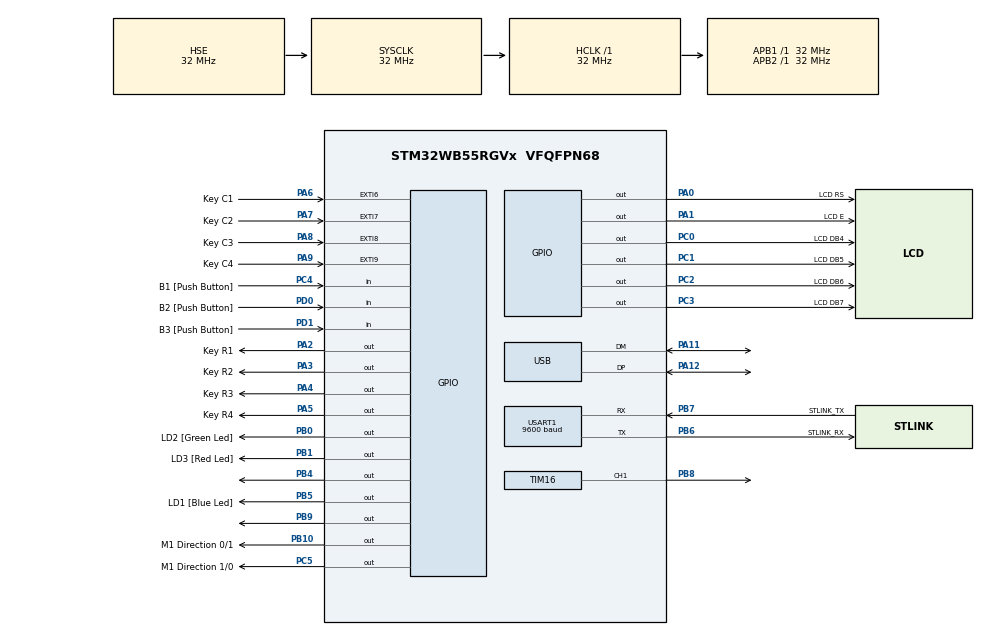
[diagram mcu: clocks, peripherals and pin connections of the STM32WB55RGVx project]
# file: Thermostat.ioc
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Mcu.Family=STM32WB
Mcu.Name=STM32WB55RGVx
Mcu.Package=VFQFPN68
NVIC.EXTI9_5_IRQn=true\:0\:0\:false\:false\:true\:true\:true\:true
NVIC.PriorityGroup=NVIC_PRIORITYGROUP_4
OSC_IN.Mode=HSE-External-Oscillator
OSC_IN.Signal=RCC_OSC_IN
OSC_OUT.Mode=HSE-External-Oscillator
OSC_OUT.Signal=RCC_OSC_OUT
PA0.GPIO_Label=LCD RS
PA0.Signal=GPIO_Output
PA1.GPIO_Label=LCD E
PA1.Signal=GPIO_Output
PA11.Mode=Device
PA11.Signal=USB_DM
PA12.Mode=Device
PA12.Signal=USB_DP
PA13.GPIO_Label=JTMS
PA13.Mode=Trace_Asynchronous_SW
PA13.Signal=SYS_JTMS-SWDIO
PA14.GPIO_Label=JTCK
PA14.Mode=Trace_Asynchronous_SW
PA14.Signal=SYS_JTCK-SWCLK
PA2.GPIO_Label=Key R1
PA2.PinState=GPIO_PIN_SET
PA2.Signal=GPIO_Output
PA3.GPIO_Label=Key R2
PA3.PinState=GPIO_PIN_SET
PA3.Signal=GPIO_Output
PA4.GPIO_Label=Key R3
PA4.PinState=GPIO_PIN_SET
PA4.Signal=GPIO_Output
PA5.GPIO_Label=Key R4
PA5.PinState=GPIO_PIN_SET
PA5.Signal=GPIO_Output
PA6.GPIO_Label=Key C1
PA6.GPIO_PuPd=GPIO_PULLDOWN
PA6.Signal=GPXTI6
PA7.GPIO_Label=Key C2
PA7.GPIO_PuPd=GPIO_PULLDOWN
PA7.Signal=GPXTI7
PA8.GPIO_Label=Key C3
PA8.GPIO_PuPd=GPIO_PULLDOWN
PA8.Signal=GPXTI8
PA9.GPIO_Label=Key C4
PA9.GPIO_PuPd=GPIO_PULLDOWN
PA9.Signal=GPXTI9
PB0.GPIO_Label=LD2 [Green Led]
PB0.Signal=GPIO_Output
PB1.GPIO_Label=LD3 [Red Led]
PB1.Signal=GPIO_Output
PB10.GPIO_Label=M1 Direction 0/1
PB10.Signal=GPIO_Output
PB3.GPIO_Label=JTDO
PB3.Mode=Trace_Asynchronous_SW
PB3.Signal=SYS_JTDO-SWO
PB4.Signal=GPIO_Output
PB5.GPIO_Label=LD1 [Blue Led]
PB5.Signal=GPIO_Output
PB6.GPIO_Label=STLINK_RX
PB6.GPIO_PuPd=GPIO_PULLUP
PB6.Mode=Asynchronous
PB6.Signal=USART1_TX
PB7.GPIO_Label=STLINK_TX
PB7.GPIO_PuPd=GPIO_PULLUP
PB7.Mode=Asynchronous
PB7.Signal=USART1_RX
PB8.Signal=S_TIM16_CH1
PB9.Signal=GPIO_Output
PC0.GPIO_Label=LCD DB4
PC0.Signal=GPIO_Output
PC1.GPIO_Label=LCD DB5
PC1.Signal=GPIO_Output
PC13.Mode=SYS_WakeUp1
PC13.Signal=SYS_WKUP2
PC14-OSC32_IN.Mode=LSE-External-Oscillator
PC14-OSC32_IN.Signal=RCC_OSC32_IN
PC15-OSC32_OUT.Mode=LSE-External-Oscillator
PC15-OSC32_OUT.Signal=RCC_OSC32_OUT
PC2.GPIO_Label=LCD DB6
PC2.Signal=GPIO_Output
PC3.GPIO_Label=LCD DB7
PC3.Signal=GPIO_Output
PC4.GPIO_Label=B1 [Push Button]
PC4.Signal=GPIO_Input
PC5.GPIO_Label=M1 Direction 1/0
PC5.Signal=GPIO_Output
PD0.GPIO_Label=B2 [Push Button]
PD0.Signal=GPIO_Input
PD1.GPIO_Label=B3 [Push Button]
PD1.Signal=GPIO_Input
ProjectManager.HeapSize=0x200
ProjectManager.StackSize=0x400
ProjectManager.TargetToolchain=Makefile
RCC.ADCFreq_Value=48000000
RCC.AHBFreq_Value=32000000
RCC.APB1Freq_Value=32000000
RCC.APB1TimFreq_Value=32000000
RCC.APB2Freq_Value=32000000
RCC.APB2TimFreq_Value=32000000
RCC.APB3Freq_Value=16000000
RCC.CortexFreq_Value=32000000
RCC.HCLKFreq_Value=32000000
RCC.HSE_VALUE=32000000
RCC.HSI48_VALUE=48000000
RCC.HSI_VALUE=16000000
RCC.LSE_Drive_Capability=RCC_LSEDRIVE_LOW
RCC.PLLN=32
RCC.PLLSAI1N=24
RCC.SMPSCLockSelectionVirtual=RCC_SMPSCLKSOURCE_HSI
RCC.SMPSCLockSelectionVirtualVirtual=RCC_SMPSCLKSOURCE_HSI
RCC.SMPSDivider=1
RCC.SYSCLKFreq_VALUE=32000000
RCC.SYSCLKSource=RCC_SYSCLKSOURCE_HSE
RCC.USBFreq_Value=48000000
RCC.VCOOutputFreq_Value=128000000
SH.S_TIM16_CH1.0=TIM16_CH1,PWM Generation1 CH1
TIM16.Channel=TIM_CHANNEL_1
TIM16.Period=255
TIM16.Prescaler=31
TIM16.Pulse=0
TIM2.Period=100000
TIM2.Prescaler=31
USART1.BaudRate=9600
USART1.VirtualMode-Asynchronous=VM_ASYNC
USART1.WordLength=WORDLENGTH_8B
VP_MEMORYMAP_VS_MEMORYMAP.Mode=CurAppReg
VP_TIM16_VS_ClockSourceINT.Mode=Enable_Timer
VP_TIM2_VS_ClockSourceINT.Mode=Internal
board=P-NUCLEO-WB55-NUCLEO

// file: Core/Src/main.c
/* USER CODE BEGIN Header */
/**
  ******************************************************************************
  * @file           : main.c
  * @brief          : Main program body
  ******************************************************************************
  * @attention
  *
  * Copyright (c) 2023 STMicroelectronics.
  * All rights reserved.
  *
  * This software is licensed under terms that can be found in the LICENSE file
  * in the root directory of this software component.
  * If no LICENSE file comes with this software, it is provided AS-IS.
  *
  ******************************************************************************
  */
/* USER CODE END Header */
#include "main.h"
#include "memorymap.h"
#include "tim.h"
#include "usart.h"
#include "usb.h"
#include "gpio.h"

/* USER CODE BEGIN Includes */
#include "lcd1602.h"
#include <stdio.h>
#include <string.h>

/* USER CODE END Includes */

/* USER CODE BEGIN PV */
uint32_t pMillis, cMillis;

/* USER CODE END PV */

void SystemClock_Config(void);
void PeriphCommonClock_Config(void);

/* USER CODE BEGIN 0 */
GPIO_InitTypeDef myGPIO_InitStruct = {0};
uint8_t humInt, humDec, tempCInt, tempCDec;
float tempF = 0;
uint32_t previousTimeInms = 0;
uint32_t currentTimeInms = 0;
uint32_t previousReadTime = 0;
uint8_t keyPressed = 0;
uint8_t setTemp = 70;
uint8_t settingTemp = 0;
uint8_t fanSpinning = 1;

// Wait for low signal
// Time out at 255 ticks
uint8_t WaitForLow()
{
  uint32_t start = HAL_GetTick();
  while((HAL_GPIO_ReadPin (GPIOB, GPIO_PIN_4)))
  {
    if (HAL_GetTick() - start >= UINT8_MAX){
      return 0;
    }
  }
  return 1;
}

// Wait for high signal
// Time out at 255 ticks
uint8_t WaitForHigh()
{
  uint32_t start = HAL_GetTick();
  while(!(HAL_GPIO_ReadPin (GPIOB, GPIO_PIN_4)))
  {
    if (HAL_GetTick() - start >= UINT8_MAX){
      return 0;
    }
  }
  return 1;
}

// Send start signal to dht11
// - set pin low for 20ms
// - set pin high for 40us
// - wait for dht11 to pull pin low
// - wait for dht11 to pull pin high
uint8_t DHT11_SendStartSignal(void)
{
  uint8_t response = 0;
  GPIO_InitTypeDef GPIO_InitStructPrivate = {0};
  GPIO_InitStructPrivate.Pin = GPIO_PIN_4;
  GPIO_InitStructPrivate.Mode = GPIO_MODE_OUTPUT_PP;
  GPIO_InitStructPrivate.Speed = GPIO_SPEED_FREQ_LOW;
  GPIO_InitStructPrivate.Pull = GPIO_NOPULL;
  HAL_GPIO_Init(GPIOB, &GPIO_InitStructPrivate); // set the pin as output

  HAL_GPIO_WritePin(GPIOB, GPIO_PIN_4, 0);   // pull the pin low
  HAL_Delay(20);   // wait for 20ms
  HAL_GPIO_WritePin(GPIOB, GPIO_PIN_4, 1);   // pull the pin high
  Delay_us (40);   // wait for 40us

  GPIO_InitStructPrivate.Mode = GPIO_MODE_INPUT;
  GPIO_InitStructPrivate.Pull = GPIO_PULLUP;
  HAL_GPIO_Init(GPIOB, &GPIO_InitStructPrivate); // set the pin as input
  response = WaitForLow();
  response = WaitForHigh();

  return response;
}

// Get one byte from DHT11
uint8_t DHT11_ReadByte()
{
  uint8_t a, b = 0;
  for (a = 0; a < 8; a++)
  {
    WaitForHigh();
    Delay_us(40);   // wait for 40 us (threshold is ~28 us)
    if (!(HAL_GPIO_ReadPin (GPIOB, GPIO_PIN_4))) // Bit is 0 if pin is low
      b&= ~(1 << (7-a));
    else // Bit is 1 if pin is still high
      b|= (1 << (7-a));
    WaitForLow();
  }
  return b;
}
/* USER CODE END 0 */

int main(void)
{

  /* MCU Configuration--------------------------------------------------------*/

  /* Reset of all peripherals, Initializes the Flash interface and the Systick. */
  HAL_Init();

  /* USER CODE BEGIN Init */
  char msg[32];

  /* USER CODE END Init */

  /* Configure the system clock */
  SystemClock_Config();

/* Configure the peripherals common clocks */
  PeriphCommonClock_Config();

  /* Initialize all configured peripherals */
  MX_GPIO_Init();
  MX_MEMORYMAP_Init();
  MX_TIM16_Init();
  MX_USART1_UART_Init();
  MX_USB_PCD_Init();
  MX_TIM2_Init();
  /* USER CODE BEGIN 2 */
  // Init LCD
  HAL_TIM_Base_Start(&htim2);
  HAL_TIM_PWM_Start(&htim16, TIM_CHANNEL_1);
  LCD_Init();
  LCD_Cls();
  HAL_GPIO_WritePin(GPIOB, GPIO_PIN_9, 0);
  HAL_GPIO_WritePin(GPIOC, GPIO_PIN_5, GPIO_PIN_SET);
  TIM16->CCR1 = 255; // Spin up fan

  /* USER CODE END 2 */

  /* Infinite loop */
  /* USER CODE BEGIN WHILE */
  while (1)
  {
    currentTimeInms = HAL_GetTick();
    // Only attempt to read 2 seconds after last successful read
    if ((currentTimeInms - previousReadTime > 2500) && DHT11_SendStartSignal())
    {
      char buffer[16] = { 0 };
      LCD_GotoXY(0, 0);

      humInt = DHT11_ReadByte(); // Relative humidity integral
      humDec = DHT11_ReadByte(); // Relative humidity decimal
      tempCInt = DHT11_ReadByte(); // Celsius integral
      tempCDec = DHT11_ReadByte(); // Celsius decimal
      tempF = ((float)tempCInt + (float)(tempCDec/10.0)) * 9/5 + 32;

      // Set fan speed based on set temp and current temp
      if (!settingTemp)
      {
        if (round(tempF) > setTemp)
        {
          if (!fanSpinning)
          {
            // Spin up fan
            TIM16->CCR1 = 255;
            HAL_Delay(100);
          }
          // Set speed (max speed at diff of 5F)
          TIM16->CCR1 = (round(tempF) - setTemp) / (float)5.0 * 51 + 195;
        }
        else
        {
          fanSpinning = 0;
          TIM16->CCR1 = 0;
        }
      }

      // Print first line
      sprintf(buffer,"%d.%d %%  %d F  ", humInt, humDec, (int)round(tempF));
      LCD_Print(buffer);

      // Print second line
      LCD_GotoXY(0, 1);
      if (setTemp == 0)
      {
        sprintf(buffer, "Set Temp:  F   ");
      }
      else
      {
        sprintf(buffer, "Set Temp: %d F ", setTemp);
      }
      LCD_Print(buffer);

      previousReadTime = HAL_GetTick();
    }

    if (settingTemp)
    {
      char buffer[16] = { 0 };
      sprintf(buffer, "Set Temp: %d F ", setTemp);
    }
    /* USER CODE END WHILE */

  }
}

void SystemClock_Config(void)
{
  RCC_OscInitTypeDef RCC_OscInitStruct = {0};
  RCC_ClkInitTypeDef RCC_ClkInitStruct = {0};

  /** Macro to configure the PLL multiplication factor
  */
  __HAL_RCC_PLL_PLLM_CONFIG(RCC_PLLM_DIV1);

  /** Macro to configure the PLL clock source
  */
  __HAL_RCC_PLL_PLLSOURCE_CONFIG(RCC_PLLSOURCE_MSI);

  /** Configure LSE Drive Capability
  */
  HAL_PWR_EnableBkUpAccess();
  __HAL_RCC_LSEDRIVE_CONFIG(RCC_LSEDRIVE_LOW);

  /** Configure the main internal regulator output voltage
  */
  __HAL_PWR_VOLTAGESCALING_CONFIG(PWR_REGULATOR_VOLTAGE_SCALE1);

  /** Initializes the RCC Oscillators according to the specified parameters
  * in the RCC_OscInitTypeDef structure.
  */
  RCC_OscInitStruct.OscillatorType = RCC_OSCILLATORTYPE_HSI|RCC_OSCILLATORTYPE_HSE
                              |RCC_OSCILLATORTYPE_LSE|RCC_OSCILLATORTYPE_MSI;
  RCC_OscInitStruct.HSEState = RCC_HSE_ON;
  RCC_OscInitStruct.LSEState = RCC_LSE_ON;
  RCC_OscInitStruct.HSIState = RCC_HSI_ON;
  RCC_OscInitStruct.MSIState = RCC_MSI_ON;
  RCC_OscInitStruct.HSICalibrationValue = RCC_HSICALIBRATION_DEFAULT;
  RCC_OscInitStruct.MSICalibrationValue = RCC_MSICALIBRATION_DEFAULT;
  RCC_OscInitStruct.MSIClockRange = RCC_MSIRANGE_6;
  RCC_OscInitStruct.PLL.PLLState = RCC_PLL_NONE;
  if (HAL_RCC_OscConfig(&RCC_OscInitStruct) != HAL_OK)
  {
    Error_Handler();
  }

  /** Configure the SYSCLKSource, HCLK, PCLK1 and PCLK2 clocks dividers
  */
  RCC_ClkInitStruct.ClockType = RCC_CLOCKTYPE_HCLK4|RCC_CLOCKTYPE_HCLK2
                              |RCC_CLOCKTYPE_HCLK|RCC_CLOCKTYPE_SYSCLK
                              |RCC_CLOCKTYPE_PCLK1|RCC_CLOCKTYPE_PCLK2;
  RCC_ClkInitStruct.SYSCLKSource = RCC_SYSCLKSOURCE_HSE;
  RCC_ClkInitStruct.AHBCLKDivider = RCC_SYSCLK_DIV1;
  RCC_ClkInitStruct.APB1CLKDivider = RCC_HCLK_DIV1;
  RCC_ClkInitStruct.APB2CLKDivider = RCC_HCLK_DIV1;
  RCC_ClkInitStruct.AHBCLK2Divider = RCC_SYSCLK_DIV1;
  RCC_ClkInitStruct.AHBCLK4Divider = RCC_SYSCLK_DIV1;

  if (HAL_RCC_ClockConfig(&RCC_ClkInitStruct, FLASH_LATENCY_1) != HAL_OK)
  {
    Error_Handler();
  }

  /** Enable MSI Auto calibration
  */
  HAL_RCCEx_EnableMSIPLLMode();
}

void PeriphCommonClock_Config(void)
{
  RCC_PeriphCLKInitTypeDef PeriphClkInitStruct = {0};

  /** Initializes the peripherals clock
  */
  PeriphClkInitStruct.PeriphClockSelection = RCC_PERIPHCLK_SMPS;
  PeriphClkInitStruct.SmpsClockSelection = RCC_SMPSCLKSOURCE_HSI;
  PeriphClkInitStruct.SmpsDivSelection = RCC_SMPSCLKDIV_RANGE0;

  if (HAL_RCCEx_PeriphCLKConfig(&PeriphClkInitStruct) != HAL_OK)
  {
    Error_Handler();
  }
}

/* USER CODE BEGIN 4 */
void NumButtonPress(uint8_t num)
{
  if (settingTemp)
  {
    if (setTemp == 0)
    {
      setTemp = num;
    }
    else
    {
      setTemp = setTemp * 10 + num;
      settingTemp = 0;
    }
  }
}

void HAL_GPIO_EXTI_Callback(uint16_t GPIO_Pin)
{
  currentTimeInms = HAL_GetTick();
  if (currentTimeInms - previousTimeInms > 500) {
    myGPIO_InitStruct.Pin = Key_C1_Pin|Key_C2_Pin|Key_C3_Pin|Key_C4_Pin;
    myGPIO_InitStruct.Mode = GPIO_MODE_INPUT;
    myGPIO_InitStruct.Pull = GPIO_PULLDOWN;
    myGPIO_InitStruct.Speed = GPIO_SPEED_FREQ_LOW;
    HAL_GPIO_Init(GPIOA, &myGPIO_InitStruct);

    HAL_GPIO_WritePin(Key_R1_GPIO_Port, Key_R1_Pin, 1);
    HAL_GPIO_WritePin(Key_R2_GPIO_Port, Key_R2_Pin, 0);
    HAL_GPIO_WritePin(Key_R3_GPIO_Port, Key_R3_Pin, 0);
    HAL_GPIO_WritePin(Key_R4_GPIO_Port, Key_R4_Pin, 0);

    if(GPIO_Pin == Key_C1_Pin && HAL_GPIO_ReadPin(Key_C1_GPIO_Port, Key_C1_Pin))
    {
      NumButtonPress(1);
      keyPressed = 49; //ASCII value of 1
    }
    else if(GPIO_Pin == Key_C2_Pin && HAL_GPIO_ReadPin(Key_C2_GPIO_Port, Key_C2_Pin))
    {
      NumButtonPress(2);
      keyPressed = 50; //ASCII value of 2
    }
    else if(GPIO_Pin == Key_C3_Pin && HAL_GPIO_ReadPin(Key_C3_GPIO_Port, Key_C3_Pin))
    {
      NumButtonPress(3);
      keyPressed = 51; //ASCII value of 3
    }
    else if(GPIO_Pin == Key_C4_Pin && HAL_GPIO_ReadPin(Key_C4_GPIO_Port, Key_C4_Pin))
    {
      keyPressed = 65; //ASCII value of A
    }

    HAL_GPIO_WritePin(Key_R1_GPIO_Port, Key_R1_Pin, 0);
    HAL_GPIO_WritePin(Key_R2_GPIO_Port, Key_R2_Pin, 1);
    HAL_GPIO_WritePin(Key_R3_GPIO_Port, Key_R3_Pin, 0);
    HAL_GPIO_WritePin(Key_R4_GPIO_Port, Key_R4_Pin, 0);

    if(GPIO_Pin == Key_C1_Pin && HAL_GPIO_ReadPin(Key_C1_GPIO_Port, Key_C1_Pin))
    {
      NumButtonPress(4);
      keyPressed = 52; //ASCII value of 4
    }
    else if(GPIO_Pin == Key_C2_Pin && HAL_GPIO_ReadPin(Key_C2_GPIO_Port, Key_C2_Pin))
    {
      NumButtonPress(5);
      keyPressed = 53; //ASCII value of 5
    }
    else if(GPIO_Pin == Key_C3_Pin && HAL_GPIO_ReadPin(Key_C3_GPIO_Port, Key_C3_Pin))
    {
      NumButtonPress(6);
      keyPressed = 54; //ASCII value of 6
    }
    else if(GPIO_Pin == Key_C4_Pin && HAL_GPIO_ReadPin(Key_C4_GPIO_Port, Key_C4_Pin))
    {
      keyPressed = 66; //ASCII value of B
    }

    HAL_GPIO_WritePin(Key_R1_GPIO_Port, Key_R1_Pin, 0);
    HAL_GPIO_WritePin(Key_R2_GPIO_Port, Key_R2_Pin, 0);
    HAL_GPIO_WritePin(Key_R3_GPIO_Port, Key_R3_Pin, 1);
    HAL_GPIO_WritePin(Key_R4_GPIO_Port, Key_R4_Pin, 0);

    if(GPIO_Pin == Key_C1_Pin && HAL_GPIO_ReadPin(Key_C1_GPIO_Port, Key_C1_Pin))
    {
      NumButtonPress(7);
      keyPressed = 55; //ASCII value of 7
    }
    else if(GPIO_Pin == Key_C2_Pin && HAL_GPIO_ReadPin(Key_C2_GPIO_Port, Key_C2_Pin))
    {
      NumButtonPress(8);
      keyPressed = 56; //ASCII value of 8
    }
    else if(GPIO_Pin == Key_C3_Pin && HAL_GPIO_ReadPin(Key_C3_GPIO_Port, Key_C3_Pin))
    {
      NumButtonPress(9);
      keyPressed = 57; //ASCII value of 9
    }
    else if(GPIO_Pin == Key_C4_Pin && HAL_GPIO_ReadPin(Key_C4_GPIO_Port, Key_C4_Pin))
    {
      keyPressed = 67; //ASCII value of C
    }

    HAL_GPIO_WritePin(Key_R1_GPIO_Port, Key_R1_Pin, 0);
    HAL_GPIO_WritePin(Key_R2_GPIO_Port, Key_R2_Pin, 0);
    HAL_GPIO_WritePin(Key_R3_GPIO_Port, Key_R3_Pin, 0);
    HAL_GPIO_WritePin(Key_R4_GPIO_Port, Key_R4_Pin, 1);

    if(GPIO_Pin == Key_C1_Pin && HAL_GPIO_ReadPin(Key_C1_GPIO_Port, Key_C1_Pin))
    {
      keyPressed = 42; //ASCII value of *
    }
    else if(GPIO_Pin == Key_C2_Pin && HAL_GPIO_ReadPin(Key_C2_GPIO_Port, Key_C2_Pin))
    {
      NumButtonPress(0);
      keyPressed = 48; //ASCII value of 0
    }
    else if(GPIO_Pin == Key_C3_Pin && HAL_GPIO_ReadPin(Key_C3_GPIO_Port, Key_C3_Pin))
    {
      settingTemp = 1;
      setTemp = 0;
      keyPressed = 35; //ASCII value of #
    }
    else if(GPIO_Pin == Key_C4_Pin && HAL_GPIO_ReadPin(Key_C4_GPIO_Port, Key_C4_Pin))
    {
      keyPressed = 68; //ASCII value of D
    }

    HAL_GPIO_WritePin(Key_R1_GPIO_Port, Key_R1_Pin, 1);
    HAL_GPIO_WritePin(Key_R2_GPIO_Port, Key_R2_Pin, 1);
    HAL_GPIO_WritePin(Key_R3_GPIO_Port, Key_R3_Pin, 1);
    HAL_GPIO_WritePin(Key_R4_GPIO_Port, Key_R4_Pin, 1);

    /*Configure GPIO pins : PB6 PB7 PB8 PB9 back to EXTI*/
    myGPIO_InitStruct.Mode = GPIO_MODE_IT_RISING;
    myGPIO_InitStruct.Pull = GPIO_PULLDOWN;
    HAL_GPIO_Init(Key_C1_GPIO_Port, &myGPIO_InitStruct);

    previousTimeInms = currentTimeInms;
  }
}

/* USER CODE END 4 */

void Error_Handler(void)
{
  __disable_irq();
  while (1)
  {
  }
}
